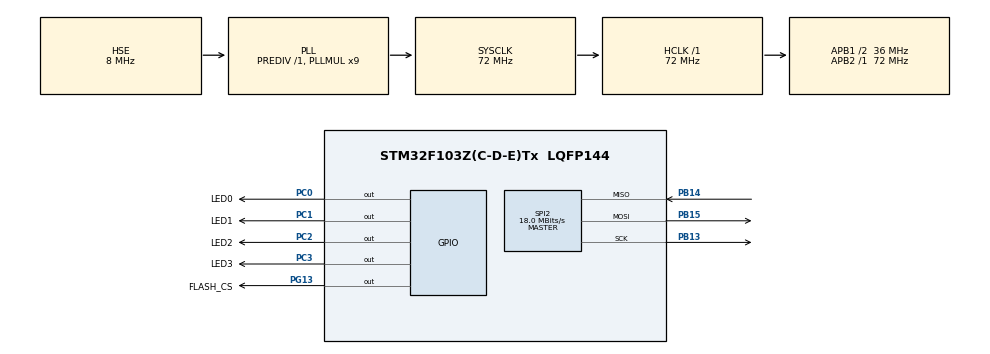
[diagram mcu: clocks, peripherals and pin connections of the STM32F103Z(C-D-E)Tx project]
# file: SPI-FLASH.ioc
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Mcu.Family=STM32F1
Mcu.Name=STM32F103Z(C-D-E)Tx
Mcu.Package=LQFP144
NVIC.PriorityGroup=NVIC_PRIORITYGROUP_4
OSC_IN.Mode=HSE-External-Oscillator
OSC_IN.Signal=RCC_OSC_IN
OSC_OUT.Mode=HSE-External-Oscillator
OSC_OUT.Signal=RCC_OSC_OUT
PA13.Mode=Serial_Wire
PA13.Signal=SYS_JTMS-SWDIO
PA14.Mode=Serial_Wire
PA14.Signal=SYS_JTCK-SWCLK
PB13.Mode=Full_Duplex_Master
PB13.Signal=SPI2_SCK
PB14.Mode=Full_Duplex_Master
PB14.Signal=SPI2_MISO
PB15.Mode=Full_Duplex_Master
PB15.Signal=SPI2_MOSI
PC0.GPIO_Label=LED0
PC0.GPIO_ModeDefaultOutputPP=GPIO_MODE_OUTPUT_PP
PC0.GPIO_PuPd=GPIO_NOPULL
PC0.GPIO_Speed=GPIO_SPEED_FREQ_LOW
PC0.PinState=GPIO_PIN_SET
PC0.Signal=GPIO_Output
PC1.GPIO_Label=LED1
PC1.GPIO_ModeDefaultOutputPP=GPIO_MODE_OUTPUT_PP
PC1.GPIO_PuPd=GPIO_NOPULL
PC1.GPIO_Speed=GPIO_SPEED_FREQ_LOW
PC1.PinState=GPIO_PIN_SET
PC1.Signal=GPIO_Output
PC2.GPIO_Label=LED2
PC2.GPIO_ModeDefaultOutputPP=GPIO_MODE_OUTPUT_PP
PC2.GPIO_PuPd=GPIO_NOPULL
PC2.GPIO_Speed=GPIO_SPEED_FREQ_LOW
PC2.PinState=GPIO_PIN_SET
PC2.Signal=GPIO_Output
PC3.GPIO_Label=LED3
PC3.GPIO_ModeDefaultOutputPP=GPIO_MODE_OUTPUT_PP
PC3.GPIO_PuPd=GPIO_NOPULL
PC3.GPIO_Speed=GPIO_SPEED_FREQ_LOW
PC3.PinState=GPIO_PIN_SET
PC3.Signal=GPIO_Output
PG13.GPIO_Label=FLASH_CS
PG13.GPIO_Speed=GPIO_SPEED_FREQ_HIGH
PG13.PinState=GPIO_PIN_SET
PG13.Signal=GPIO_Output
ProjectManager.HeapSize=0x200
ProjectManager.StackSize=0x400
ProjectManager.TargetToolchain=MDK-ARM V5.27
RCC.ADCPresc=RCC_ADCPCLK2_DIV6
RCC.AHBFreq_Value=72000000
RCC.APB1CLKDivider=RCC_HCLK_DIV2
RCC.APB1Freq_Value=36000000
RCC.APB1TimFreq_Value=72000000
RCC.APB2Freq_Value=72000000
RCC.APB2TimFreq_Value=72000000
RCC.HCLKFreq_Value=72000000
RCC.PLLMUL=RCC_PLL_MUL9
RCC.PLLSourceVirtual=RCC_PLLSOURCE_HSE
RCC.SYSCLKFreq_VALUE=72000000
RCC.SYSCLKSource=RCC_SYSCLKSOURCE_PLLCLK
RCC.USBFreq_Value=48000000
RCC.USBPrescaler=RCC_USBCLKSOURCE_PLL_DIV1_5
SPI2.BaudRatePrescaler=SPI_BAUDRATEPRESCALER_2
SPI2.CalculateBaudRate=18.0 MBits/s
SPI2.Direction=SPI_DIRECTION_2LINES
SPI2.Mode=SPI_MODE_MASTER
SPI2.VirtualType=VM_MASTER
board=custom

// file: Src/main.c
/* USER CODE BEGIN Header */
/**
  ******************************************************************************
  * @file           : main.c
  * @brief          : Main program body
  ******************************************************************************
  * @attention
  *
  * <h2><center>&copy; Copyright (c) 2020 STMicroelectronics.
  * All rights reserved.</center></h2>
  *
  * This software component is licensed by ST under BSD 3-Clause license,
  * the "License"; You may not use this file except in compliance with the
  * License. You may obtain a copy of the License at:
  *                        opensource.org/licenses/BSD-3-Clause
  *
  ******************************************************************************
  */
/* USER CODE END Header */

#include "main.h"
#include "spi.h"
#include "gpio.h"

/* USER CODE BEGIN Includes */
#include <stdio.h>
#include <string.h>
/* USER CODE END Includes */

/* USER CODE BEGIN PD */

#define SPI_FLASH_WriteEnable							0x06
#define SPI_FLASH_WriteDisable						0x04
#define SPI_FLASH_ReadStatusRegister_1		0x05
#define SPI_FLASH_ReadStatusRegister_2		0x35
#define SPI_FLASH_WriteStatusRegister			0x01
#define SPI_FLASH_PageProgram							0x02
#define SPI_FLASH_QuadPageProgram					0x32
#define SPI_FLASH_BlockErase_64						0xd8
#define SPI_FLASH_BlockErase_32						0x52
#define SPI_FLASH_SectorErase							0x20
#define SPI_FLASH_ChipErase								0xc7//C7h/60h
#define SPI_FLASH_EraseSuspend						0x75
#define SPI_FLASH_EraseResume							0x7a
#define SPI_FLASH_Power_down							0xb9
#define SPI_FLASH_HighPerformanceMode			0xa3
#define SPI_FLASH_ContinuousReadModeReset 0xff
#define SPI_FLASH_HPMDeviceID							0xab
#define SPI_FLASH_ManufacDeviceID					0x90
#define SPI_FLASH_ReadUniqueID						0x4b
#define SPI_FLASH_JEDECID									0x9f
//////////////////////////////////////////////////////////
#define SPI_FLASH_ReadData								0x03
#define SPI_FLASH_FastRead								0x0b
#define SPI_FLASH_CS(__RET__)							(__RET__? HAL_GPIO_WritePin(FLASH_CS_GPIO_Port, FLASH_CS_Pin, GPIO_PIN_RESET)\
																						:HAL_GPIO_WritePin(FLASH_CS_GPIO_Port, FLASH_CS_Pin, GPIO_PIN_SET))

/* USER CODE END PD */

void SystemClock_Config(void);

/* USER CODE BEGIN 0 */
int fputc(int ch, FILE *f)
{
	return ITM_SendChar(ch);
}

HAL_StatusTypeDef Flash_SPI_CmdTransmit(uint8_t Addr)
{
	return HAL_SPI_Transmit(&hspi2, &Addr, 1, 1000);
}
HAL_StatusTypeDef Flash_SPI_DataTransmit(uint8_t *pData, uint16_t Size)
{
	return HAL_SPI_Transmit(&hspi2, pData, Size, 1000);
}
HAL_StatusTypeDef Flash_SPI_DataReceive(uint8_t *pData, uint16_t Size)
{
	return HAL_SPI_Receive(&hspi2, pData, Size, 1000);
}

HAL_StatusTypeDef Flash_SPI_DataTransmitReceive(uint8_t *pData, uint16_t Size)
{
	return HAL_SPI_TransmitReceive(&hspi2, pData, pData, Size, 1000);
}
//------------------------------------------------------------
void Flash_SPI_WriteEnable()
{
	SPI_FLASH_CS(1);
	Flash_SPI_CmdTransmit(SPI_FLASH_WriteEnable);
	SPI_FLASH_CS(0);
}
void Flash_SPI_WriteDisable()
{
	SPI_FLASH_CS(1);
	Flash_SPI_CmdTransmit(SPI_FLASH_WriteDisable);
	SPI_FLASH_CS(0);
}

//------------------------------------------------------------

uint8_t Flash_SPI_ReadSReg1()
{
	uint8_t rByte = 0;

	SPI_FLASH_CS(1);
	Flash_SPI_CmdTransmit(SPI_FLASH_ReadStatusRegister_1);
	Flash_SPI_DataReceive(&rByte, 1);
	SPI_FLASH_CS(0);

	return rByte;
}

uint8_t Flash_SPI_ReadSReg2()
{
	uint8_t rByte = 0;

	SPI_FLASH_CS(1);
	Flash_SPI_CmdTransmit(SPI_FLASH_ReadStatusRegister_2);
	Flash_SPI_DataReceive(&rByte, 1);
	SPI_FLASH_CS(0);

	return rByte;
}
void FLASH_SPI_WaitBusy()
{
	while((Flash_SPI_ReadSReg1()&0x01)==0x01);
}
uint8_t Flash_SPI_WriteSReg()
{
	uint16_t Byte2 = 0;

	SPI_FLASH_CS(1);
	Flash_SPI_CmdTransmit(SPI_FLASH_WriteStatusRegister);
	Flash_SPI_DataReceive((uint8_t *)&Byte2,2);
	SPI_FLASH_CS(0);

	return Byte2;
}

void Flash_SPI_SectorErase(uint32_t SecAddr)
{

	uint32_t sAddr=SecAddr;
	SecAddr /= 4096;//只能擦除扇区，应该传输被擦除扇区的首地址 一个扇区4k=4096字节
	sAddr = ((sAddr & 0x000000ff) << 16) | ((sAddr & 0x0000ff00) << 0) | ((sAddr & 0x00ff0000) >> 16);

	Flash_SPI_WriteEnable();
	FLASH_SPI_WaitBusy();
	SPI_FLASH_CS(1);
	Flash_SPI_CmdTransmit(SPI_FLASH_SectorErase);
	Flash_SPI_DataTransmit((uint8_t *)&SecAddr, 3);
	SPI_FLASH_CS(0);
	FLASH_SPI_WaitBusy();
	Flash_SPI_WriteDisable();

}

uint16_t Flash_SPI_ManufacDeviceID()
{
	uint16_t deviceid = 0;
	uint8_t dummy[3]={0};

	SPI_FLASH_CS(1);
	Flash_SPI_CmdTransmit(SPI_FLASH_ManufacDeviceID);
	Flash_SPI_DataTransmit(dummy, 3);
	Flash_SPI_DataReceive((uint8_t *)&deviceid, 2);
	SPI_FLASH_CS(0);
	printf("-->DeviceId:%04x\n", deviceid);

	return deviceid;
}
void Flash_SPI_ReadData(uint32_t startAddr, uint8_t *pBuffer,uint8_t Size)
{
	startAddr = ((startAddr & 0x000000ff) << 16) | ((startAddr & 0x0000ff00) << 0) | ((startAddr & 0x00ff0000) >> 16);

	SPI_FLASH_CS(1);
	Flash_SPI_CmdTransmit(SPI_FLASH_ReadData);
	Flash_SPI_DataTransmit((uint8_t *)&startAddr ,3);
	Flash_SPI_DataReceive(pBuffer, Size);
	SPI_FLASH_CS(0);
}
void Flash_SPI_FastRead(uint32_t startAddr, uint8_t *pBuffer,uint8_t Size)
{
	uint8_t dummy=0xff;
	startAddr = ((startAddr & 0x000000ff) << 16) | ((startAddr & 0x0000ff00) << 0) | ((startAddr & 0x00ff0000) >> 16);

	SPI_FLASH_CS(1);
	Flash_SPI_CmdTransmit(SPI_FLASH_FastRead);
	Flash_SPI_DataTransmit((uint8_t *)&startAddr ,3);
	Flash_SPI_DataTransmit(&dummy, 1);
	Flash_SPI_DataReceive(pBuffer, Size);
	SPI_FLASH_CS(0);
}

void Flash_SPI_WritePage(uint32_t startAddr, uint8_t *pBuffer,uint8_t Size)
{
	startAddr = ((startAddr & 0x000000ff) << 16) | ((startAddr & 0x0000ff00) << 0) | ((startAddr & 0x00ff0000) >> 16);

	Flash_SPI_WriteEnable();
	FLASH_SPI_WaitBusy();
	SPI_FLASH_CS(1);
	Flash_SPI_CmdTransmit(SPI_FLASH_PageProgram);
	Flash_SPI_DataTransmit((uint8_t *)&startAddr ,3);
	Flash_SPI_DataReceive(pBuffer, Size);
	SPI_FLASH_CS(0);
	FLASH_SPI_WaitBusy();
	Flash_SPI_WriteDisable();
}
/* USER CODE END 0 */

int main(void)
{

  /* MCU Configuration--------------------------------------------------------*/

  /* Reset of all peripherals, Initializes the Flash interface and the Systick. */
  HAL_Init();

  /* Configure the system clock */
  SystemClock_Config();

  /* Initialize all configured peripherals */
  MX_GPIO_Init();
  MX_SPI2_Init();
  /* USER CODE BEGIN 2 */
	uint8_t str[]="hello world";
	uint8_t len=sizeof(str);
	Flash_SPI_ManufacDeviceID();

	//printf("sizeof(str)%d:\n",sizeof(str));
	//写flash 之前必须擦除对应扇区
	Flash_SPI_SectorErase(0x01);
	Flash_SPI_WritePage(0x01,str, len);
  /* USER CODE END 2 */

  /* Infinite loop */
  while (1)
  {

    /* USER CODE BEGIN 3 */
		uint8_t str1[len];

		Flash_SPI_ReadData(0x01, str1, len);
		printf("%s\n", str1);
  }
  /* USER CODE END 3 */
}

void SystemClock_Config(void)
{
  RCC_OscInitTypeDef RCC_OscInitStruct = {0};
  RCC_ClkInitTypeDef RCC_ClkInitStruct = {0};

  /** Initializes the CPU, AHB and APB busses clocks
  */
  RCC_OscInitStruct.OscillatorType = RCC_OSCILLATORTYPE_HSE;
  RCC_OscInitStruct.HSEState = RCC_HSE_ON;
  RCC_OscInitStruct.HSEPredivValue = RCC_HSE_PREDIV_DIV1;
  RCC_OscInitStruct.HSIState = RCC_HSI_ON;
  RCC_OscInitStruct.PLL.PLLState = RCC_PLL_ON;
  RCC_OscInitStruct.PLL.PLLSource = RCC_PLLSOURCE_HSE;
  RCC_OscInitStruct.PLL.PLLMUL = RCC_PLL_MUL9;
  if (HAL_RCC_OscConfig(&RCC_OscInitStruct) != HAL_OK)
  {
    Error_Handler();
  }
  /** Initializes the CPU, AHB and APB busses clocks
  */
  RCC_ClkInitStruct.ClockType = RCC_CLOCKTYPE_HCLK|RCC_CLOCKTYPE_SYSCLK
                              |RCC_CLOCKTYPE_PCLK1|RCC_CLOCKTYPE_PCLK2;
  RCC_ClkInitStruct.SYSCLKSource = RCC_SYSCLKSOURCE_PLLCLK;
  RCC_ClkInitStruct.AHBCLKDivider = RCC_SYSCLK_DIV1;
  RCC_ClkInitStruct.APB1CLKDivider = RCC_HCLK_DIV2;
  RCC_ClkInitStruct.APB2CLKDivider = RCC_HCLK_DIV1;

  if (HAL_RCC_ClockConfig(&RCC_ClkInitStruct, FLASH_LATENCY_2) != HAL_OK)
  {
    Error_Handler();
  }
}

void Error_Handler(void)
{
}

/************************ (C) COPYRIGHT STMicroelectronics *****END OF FILE****/
